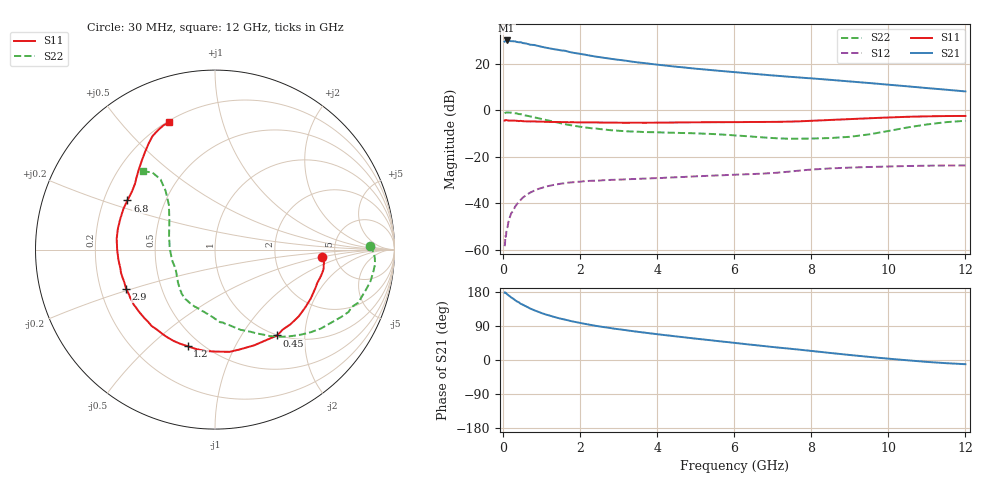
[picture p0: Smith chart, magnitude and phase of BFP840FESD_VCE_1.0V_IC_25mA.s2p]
! Infineon Technologies  Discrete & RF Semiconductors
! BFP840FESD
! VCE =  1.0 V,  IC =  25 mA
! Common Emitter S-Parameters:  May 2012
# GHz  S  MA  R  50
!  f  S11  S21  S12  S22
! GHz  MAG  ANG  MAG  ANG  MAG  ANG  MAG  ANG
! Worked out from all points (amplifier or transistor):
!   103 points, 30 MHz to 12 GHz, reference 50 ohm
!   highest |S21| = 30.0 dB at 80 MHz (marker M1)
!   |S21| within 3 dB of that: start of sweep to 1.075 GHz
!   unconditionally stable (mu >= 1): start of sweep to 67.64 MHz; 4.382 GHz to end of sweep
!   at 400 MHz: K = 0.30, MSG = 34.3 dB, |S12| = -39.3 dB
!   at 3.7 GHz: K = 0.91, MSG = 24.8 dB, |S12| = -29.4 dB
!   at 12 GHz: K = 1.21, MAG = 13.1 dB, |S12| = -23.7 dB
!   S11 on the Smith chart (normalised r, x): 30 MHz: 3.91, -0.53; 450 MHz: 0.99, -1.46; 1.2 GHz: 0.42, -0.67; 2.9 GHz: 0.31, -0.19; 6.8 GHz: 0.30, +0.24; 12 GHz: 0.21, +0.68
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0.03  0.5987 -4.2  29.69 177.6  0.0012 78.3  0.862 1.4
0.05  0.6118 -6.7  30.98 178.2  0.002 75.3  0.8781 -0.3
0.08  0.6134 -10.9  31.52 175.0  0.0027 88.4  0.8907 -2.7
0.13  0.5993 -18.0  30.42 170.8  0.004 78.3  0.8923 -6.7
0.3  0.5966 -38.6  30.14 158.2  0.0084 73.0  0.8607 -17.3
0.35  0.5917 -44.6  29.27 154.4  0.0096 72.0  0.8514 -20.3
0.4  0.584 -49.8  28.79 152.2  0.0108 68.8  0.8251 -22.9
0.45  0.5906 -54.1  28.88 148.3  0.0119 67.8  0.8213 -25.0
0.7  0.573 -76.2  25.55 135.6  0.0171 60.6  0.7352 -36.8
0.8  0.5755 -81.8  25.18 131.3  0.0187 57.6  0.7053 -40.7
1  0.5675 -95.3  23 123.5  0.0215 52.7  0.6456 -48.2
1.2  0.5595 -105.8  21.31 117.3  0.0238 48.9  0.5922 -54.9
1.6  0.5544 -121.2  18.94 106.5  0.027 42.3  0.5008 -66.3
1.8  0.5528 -129.7  17.2 101.6  0.0283 39.9  0.4698 -72.2
2.1  0.5471 -138.3  15.72 95.7  0.0298 37.1  0.4271 -79.5
2.9  0.541 -156.2  12.36 82.4  0.032 33.7  0.3679 -95.0
4.1  0.5415 -175.1  9.321 66.8  0.0349 33.0  0.3333 -111.9
6.1  0.555 160.1  6.48 44.1  0.0415 34.0  0.2845 -135.0
6.8  0.56 150.7  5.764 36.4  0.0438 35.3  0.2589 -145.2
8.5  0.6182 133.2  4.49 18.5  0.0563 33.0  0.2527 177.9
10.5  0.7221 118.8  3.257 -0.8  0.0633 25.2  0.4271 130.1
12  0.7536 109.8  2.534 -11.1  0.065 22.4  0.5926 132.6
